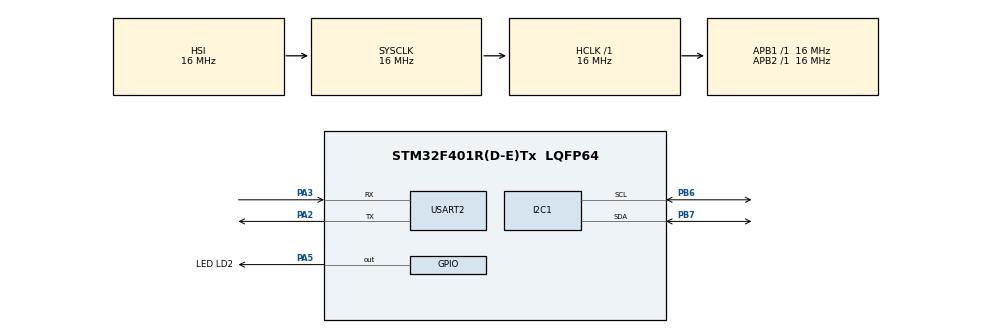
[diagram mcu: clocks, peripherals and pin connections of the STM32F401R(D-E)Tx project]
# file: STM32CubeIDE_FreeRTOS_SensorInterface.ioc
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FREERTOS.Tasks01=LEDTask,24,256,StartLEDTask,Default,NULL,Dynamic,NULL,NULL;SensorTask,8,128,StartSensorTask,Default,NULL,Dynamic,NULL,NULL;DataProcessingT,24,128,StartDataProcessingTask,Default,NULL,Dynamic,NULL,NULL
FREERTOS.configUSE_NEWLIB_REENTRANT=1
Mcu.Family=STM32F4
Mcu.Name=STM32F401R(D-E)Tx
Mcu.Package=LQFP64
NVIC.PriorityGroup=NVIC_PRIORITYGROUP_4
NVIC.TIM5_IRQn=true\:15\:0\:false\:false\:true\:false\:false\:true\:true
NVIC.TimeBase=TIM5_IRQn
NVIC.TimeBaseIP=TIM5
PA2.Mode=Asynchronous
PA2.Signal=USART2_TX
PA3.Mode=Asynchronous
PA3.Signal=USART2_RX
PA5.GPIO_Label=LED LD2
PA5.Signal=GPIO_Output
PB6.Mode=I2C
PB6.Signal=I2C1_SCL
PB7.Mode=I2C
PB7.Signal=I2C1_SDA
ProjectManager.HeapSize=0x200
ProjectManager.StackSize=0x400
ProjectManager.TargetToolchain=STM32CubeIDE
RCC.AHBFreq_Value=16000000
RCC.APB1Freq_Value=16000000
RCC.APB2Freq_Value=16000000
RCC.CortexFreq_Value=16000000
RCC.HSE_VALUE=25000000
RCC.HSI_VALUE=16000000
RCC.LSE_VALUE=32768
RCC.SYSCLKFreq_VALUE=16000000
RCC.VCOOutputFreq_Value=192000000
USART2.VirtualMode=VM_ASYNC
VP_FREERTOS_VS_CMSIS_V2.Mode=CMSIS_V2
VP_SYS_VS_tim5.Mode=TIM5
board=custom

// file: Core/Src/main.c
/* USER CODE BEGIN Header */
/**
  ******************************************************************************
  * @file           : main.c
  * @brief          : Main program body
  ******************************************************************************
  * @attention
  *
  * Copyright (c) 2026 STMicroelectronics.
  * All rights reserved.
  *
  * This software is licensed under terms that can be found in the LICENSE file
  * in the root directory of this software component.
  * If no LICENSE file comes with this software, it is provided AS-IS.
  *
  ******************************************************************************
  */
/* USER CODE END Header */
#include "main.h"
#include "cmsis_os.h"
#include <stdio.h>

I2C_HandleTypeDef hi2c1;

UART_HandleTypeDef huart2;

/* Definitions for LEDTask */
osThreadId_t LEDTaskHandle;
const osThreadAttr_t LEDTask_attributes = {
  .name = "LEDTask",
  .stack_size = 256 * 4,
  .priority = (osPriority_t) osPriorityNormal,
};
/* Definitions for SensorTask */
osThreadId_t SensorTaskHandle;
const osThreadAttr_t SensorTask_attributes = {
  .name = "SensorTask",
  .stack_size = 128 * 4,
  .priority = (osPriority_t) osPriorityLow,
};
/* Definitions for DataProcessingT */
osThreadId_t DataProcessingTHandle;
const osThreadAttr_t DataProcessingT_attributes = {
  .name = "DataProcessingT",
  .stack_size = 128 * 4,
  .priority = (osPriority_t) osPriorityNormal,
};
/* USER CODE BEGIN PV */
osMessageQueueId_t sensorQueue;
volatile uint32_t receivedCount = 0;

/* USER CODE END PV */

void SystemClock_Config(void);
static void MX_GPIO_Init(void);
static void MX_USART2_UART_Init(void);
static void MX_I2C1_Init(void);
void StartLEDTask(void *argument);
void StartSensorTask(void *argument);
void StartDataProcessingTask(void *argument);

int main(void)
{

  /* MCU Configuration--------------------------------------------------------*/

  /* Reset of all peripherals, Initializes the Flash interface and the Systick. */
  HAL_Init();

  /* Configure the system clock */
  SystemClock_Config();

  /* Initialize all configured peripherals */
  MX_GPIO_Init();

  /* Initialize USART2 for serial communication with the PC. */
  MX_USART2_UART_Init();
  MX_I2C1_Init();
  /* USER CODE BEGIN 2 */

  /* Create a message queue for 8 sensor readings. */
  sensorQueue = osMessageQueueNew(8, sizeof(uint32_t), NULL);

  /* Check whether the queue was created successfully. */
  if (sensorQueue == NULL)
  {
      Error_Handler();
  }

  /* Prepare a test message to verify UART communication. */
  const char uartMessage[] = "UART Stage 3 Started\r\n";

  /* Transmit the startup message through USART2. */
  HAL_UART_Transmit(&huart2,
                    (uint8_t *)uartMessage,  /* Message bytes */
                    sizeof(uartMessage) - 1, /* Exclude terminating null byte */
                    HAL_MAX_DELAY);          /* Wait for transmission to complete */

  /* USER CODE END 2 */

  /* Init scheduler */
  osKernelInitialize();

  /* Create the thread(s) */
  /* creation of LEDTask */
  LEDTaskHandle = osThreadNew(StartLEDTask, NULL, &LEDTask_attributes);

  /* creation of SensorTask */
  SensorTaskHandle = osThreadNew(StartSensorTask, NULL, &SensorTask_attributes);

  /* creation of DataProcessingT */
  DataProcessingTHandle = osThreadNew(StartDataProcessingTask, NULL, &DataProcessingT_attributes);

  /* Start scheduler */
  osKernelStart();

  /* We should never get here as control is now taken by the scheduler */

  /* Infinite loop */
  while (1)
  {

  }
}

void SystemClock_Config(void)
{
  RCC_OscInitTypeDef RCC_OscInitStruct = {0};
  RCC_ClkInitTypeDef RCC_ClkInitStruct = {0};

  /** Configure the main internal regulator output voltage
  */
  __HAL_RCC_PWR_CLK_ENABLE();
  __HAL_PWR_VOLTAGESCALING_CONFIG(PWR_REGULATOR_VOLTAGE_SCALE2);

  /** Initializes the RCC Oscillators according to the specified parameters
  * in the RCC_OscInitTypeDef structure.
  */
  RCC_OscInitStruct.OscillatorType = RCC_OSCILLATORTYPE_HSI;
  RCC_OscInitStruct.HSIState = RCC_HSI_ON;
  RCC_OscInitStruct.HSICalibrationValue = RCC_HSICALIBRATION_DEFAULT;
  RCC_OscInitStruct.PLL.PLLState = RCC_PLL_NONE;
  if (HAL_RCC_OscConfig(&RCC_OscInitStruct) != HAL_OK)
  {
    Error_Handler();
  }

  /** Initializes the CPU, AHB and APB buses clocks
  */
  RCC_ClkInitStruct.ClockType = RCC_CLOCKTYPE_HCLK|RCC_CLOCKTYPE_SYSCLK
                              |RCC_CLOCKTYPE_PCLK1|RCC_CLOCKTYPE_PCLK2;
  RCC_ClkInitStruct.SYSCLKSource = RCC_SYSCLKSOURCE_HSI;
  RCC_ClkInitStruct.AHBCLKDivider = RCC_SYSCLK_DIV1;
  RCC_ClkInitStruct.APB1CLKDivider = RCC_HCLK_DIV1;
  RCC_ClkInitStruct.APB2CLKDivider = RCC_HCLK_DIV1;

  if (HAL_RCC_ClockConfig(&RCC_ClkInitStruct, FLASH_LATENCY_0) != HAL_OK)
  {
    Error_Handler();
  }
}

static void MX_I2C1_Init(void)
{

  hi2c1.Instance = I2C1;
  hi2c1.Init.ClockSpeed = 100000;
  hi2c1.Init.DutyCycle = I2C_DUTYCYCLE_2;
  hi2c1.Init.OwnAddress1 = 0;
  hi2c1.Init.AddressingMode = I2C_ADDRESSINGMODE_7BIT;
  hi2c1.Init.DualAddressMode = I2C_DUALADDRESS_DISABLE;
  hi2c1.Init.OwnAddress2 = 0;
  hi2c1.Init.GeneralCallMode = I2C_GENERALCALL_DISABLE;
  hi2c1.Init.NoStretchMode = I2C_NOSTRETCH_DISABLE;
  if (HAL_I2C_Init(&hi2c1) != HAL_OK)
  {
    Error_Handler();
  }

}

static void MX_USART2_UART_Init(void)
{

  /* Configure USART2 for 115200 baud, 8-N-1 serial communication. */
  huart2.Instance = USART2;
  huart2.Init.BaudRate = 115200;
  huart2.Init.WordLength = UART_WORDLENGTH_8B;
  huart2.Init.StopBits = UART_STOPBITS_1;
  huart2.Init.Parity = UART_PARITY_NONE;
  huart2.Init.Mode = UART_MODE_TX_RX;
  huart2.Init.HwFlowCtl = UART_HWCONTROL_NONE;
  huart2.Init.OverSampling = UART_OVERSAMPLING_16;
  if (HAL_UART_Init(&huart2) != HAL_OK)
  {
    Error_Handler();
  }

}

static void MX_GPIO_Init(void)
{
  GPIO_InitTypeDef GPIO_InitStruct = {0};

  /* GPIO Ports Clock Enable */
  __HAL_RCC_GPIOA_CLK_ENABLE();
  __HAL_RCC_GPIOB_CLK_ENABLE();

  /*Configure GPIO pin Output Level */
  HAL_GPIO_WritePin(LED_LD2_GPIO_Port, LED_LD2_Pin, GPIO_PIN_RESET);

  /*Configure GPIO pin : LED_LD2_Pin */
  GPIO_InitStruct.Pin = LED_LD2_Pin;
  GPIO_InitStruct.Mode = GPIO_MODE_OUTPUT_PP;
  GPIO_InitStruct.Pull = GPIO_NOPULL;
  GPIO_InitStruct.Speed = GPIO_SPEED_FREQ_LOW;
  HAL_GPIO_Init(LED_LD2_GPIO_Port, &GPIO_InitStruct);

}

void StartLEDTask(void *argument)
{
  /* USER CODE BEGIN 5 */
  /* Infinite loop */
  for(;;)
  {
    //osDelay(1); commented the default one to add delay for LED task
    HAL_GPIO_TogglePin(LED_LD2_GPIO_Port, LED_LD2_Pin);   // toggle the PA5 LED
	osDelay(500);                                         // Delay of 50ms for toggling the LED
  }
  /* USER CODE END 5 */
}

void StartSensorTask(void *argument)
{
  /* USER CODE BEGIN StartSensorTask */

  /* Infinite loop */
  //for(;;)
  //{
    //osDelay(1);
  //}

	/* Generate simulated sensor readings (28–35) until real sensor hardware is integrated. */
	uint32_t sensorValue = 28;

	for (;;)
	{
		/* Send the current simulated reading to the sensor queue. */
		osMessageQueuePut(sensorQueue, &sensorValue, 0, 0);

		/* Increment the reading to simulate changing sensor data. */
		sensorValue++;

		/* Reset the reading to 28 after reaching 35. */
		if (sensorValue > 35)
		{
			sensorValue = 28;
		}

		/* Wait 1 second before generating the next reading. */
		osDelay(1000);
	}
  /* USER CODE END StartSensorTask */
}

#if 0
void StartDataProcessingTask(void *argument)
{
  /* USER CODE BEGIN StartDataProcessingTask */

  /* Infinite loop */
  //for(;;)
  //{
  //  osDelay(1);
  //}

	uint32_t receivedValue = 0;

	for (;;)
	{
		/* Wait indefinitely until a sensor reading is available in the queue. */
		if (osMessageQueueGet(sensorQueue, &receivedValue, NULL, osWaitForever) == osOK)
		{
			/* Sensor reading received successfully */
			/* Increment the counter after successfully receiving a queue message. */
		    receivedCount++;
		}
	}

  /* USER CODE END StartDataProcessingTask */
}
#endif

void StartDataProcessingTask(void *argument)
{
    /* USER CODE BEGIN StartDataProcessingTask */

	/* Variable to store the sensor reading received from the message queue. */
    uint32_t receivedValue = 0;

    /* Buffer to format sensor readings for UART transmission. */
    char uartBuffer[50];

    /* Continuously receive sensor readings and transmit them over UART. */
    for (;;)
    {
        /* Wait until a sensor reading is available in the queue. */
        if (osMessageQueueGet(sensorQueue,
                              &receivedValue,
                              NULL,
                              osWaitForever) == osOK)
        {
        	/* Increment the counter after successfully receiving a reading. */
            receivedCount++;

            /* Format the received sensor reading as a string for UART output. */
            int length = snprintf(uartBuffer,
                                  sizeof(uartBuffer),
                                  "Sensor Reading: %lu\r\n",
                                  (unsigned long)receivedValue);

            /* Transmit the formatted sensor reading to the serial terminal. */
            if (length > 0 && length < sizeof(uartBuffer))
            {
                HAL_UART_Transmit(&huart2,
                                  (uint8_t *)uartBuffer,
                                  (uint16_t)length,
                                  HAL_MAX_DELAY);
            }
        }
    }

    /* USER CODE END StartDataProcessingTask */
}

void HAL_TIM_PeriodElapsedCallback(TIM_HandleTypeDef *htim)
{
  if (htim->Instance == TIM5)
  {
    HAL_IncTick();
  }
}

void Error_Handler(void)
{
  __disable_irq();
  while (1)
  {
  }
}
